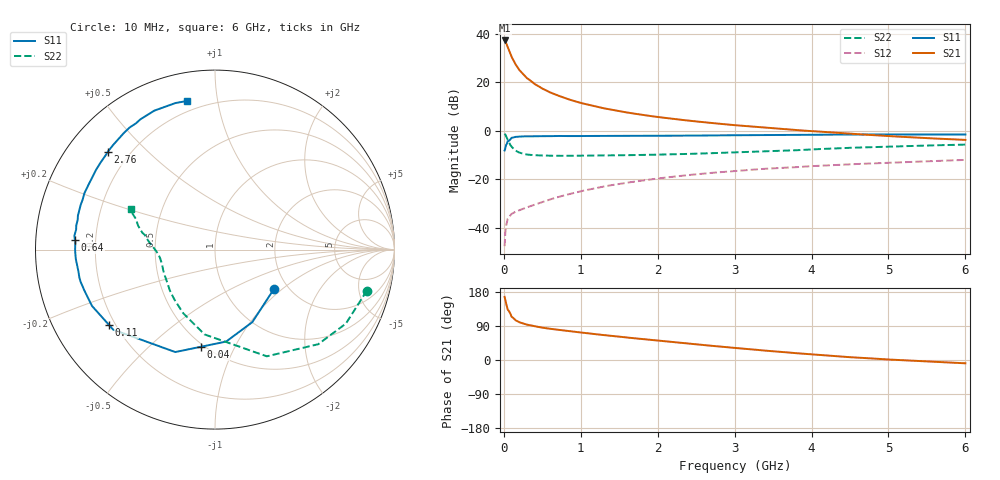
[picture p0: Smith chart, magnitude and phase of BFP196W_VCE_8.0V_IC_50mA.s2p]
! Infineon Technologies  Discrete & RF Semiconductors
! BFP196W
! VCE = 8.0 V,  IC =  50mA
! Common Emitter S-Parameters:  Jan 2016
# GHz  S  MA  R  50
!  f  S11  S21  S12  S22
! GHz  MAG  ANG  MAG  ANG  MAG  ANG  MAG  ANG
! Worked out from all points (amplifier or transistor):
!   210 points, 10 MHz to 6 GHz, reference 50 ohm
!   highest |S21| = 37.3 dB at 10 MHz (marker M1)
!   |S21| within 3 dB of that: start of sweep to 53.52 MHz
!   unconditionally stable (mu >= 1): 710.4 MHz to 3.563 GHz; 3.629 GHz to 3.875 GHz
!   at 185 MHz: K = 0.52, MSG = 29.4 dB, |S12| = -32.9 dB
!   at 1.52 GHz: K = 1.11, MAG = 12.9 dB, |S12| = -21.8 dB
!   at 6 GHz: K = 0.96, MSG = 4.1 dB, |S12| = -12.0 dB
!   S11 on the Smith chart (normalised r, x): 10 MHz: 1.69, -0.88; 40 MHz: 0.48, -0.74; 110 MHz: 0.18, -0.31; 640 MHz: 0.12, +0.03; 2.76 GHz: 0.12, +0.38; 6 GHz: 0.14, +0.82
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0.01  0.3951 -33.6  73.3 166.6  0.0042 77.9  0.8766 -15.1
0.02  0.4545 -62.8  70.47 157.3  0.0083 68.5  0.8376 -29.5
0.03  0.5162 -83.1  65.23 148.0  0.0111 61.5  0.7802 -42.5
0.04  0.5474 -98.4  58.85 141.4  0.0132 55.3  0.7079 -52.4
0.05  0.6122 -111.2  53.42 133.4  0.0154 50.9  0.6609 -64.1
0.1  0.7214 -141.8  33.67 114.4  0.0194 39.3  0.4761 -97.1
0.11  0.7245 -144.6  31.63 113.0  0.0198 38.9  0.4562 -100.4
0.15  0.7538 -155.4  23.76 104.9  0.0215 37.4  0.3959 -116.7
0.17  0.7559 -158.3  21.49 103.1  0.0221 38.2  0.3787 -121.4
0.2  0.7628 -162.7  18.13 99.7  0.0231 39.2  0.3581 -129.2
0.26  0.7716 -168.2  14.23 95.5  0.0251 41.3  0.3371 -138.8
0.3  0.7706 -171.0  12.26 93.3  0.0265 42.8  0.3253 -144.0
0.4  0.7774 -176.2  9.279 88.8  0.0301 47.1  0.3156 -152.1
0.5  0.7795 -179.8  7.469 85.3  0.0341 51.0  0.3112 -157.6
0.64  0.7824 176.0  5.896 81.4  0.0403 54.4  0.3074 -162.4
1.02  0.7835 167.5  3.706 72.2  0.0578 58.7  0.3085 -169.5
2.02  0.7938 149.5  1.92 50.7  0.1054 56.7  0.3244 -177.7
2.76  0.8082 137.6  1.427 36.4  0.1389 51.2  0.3498 176.9
3.1  0.8162 132.2  1.276 30.2  0.1535 48.2  0.3657 174.0
4.1  0.8374 118.6  0.968 13.6  0.1911 39.9  0.4215 166.1
5.1  0.8429 108.0  0.767 0.3  0.2234 32.1  0.4778 158.4
6  0.8426 100.8  0.653 -8.7  0.2524 25.9  0.522 154.2
